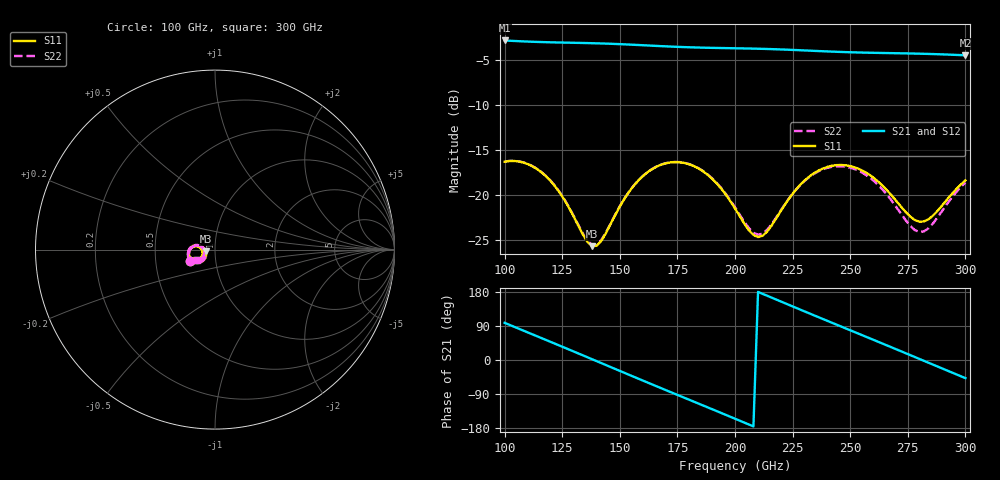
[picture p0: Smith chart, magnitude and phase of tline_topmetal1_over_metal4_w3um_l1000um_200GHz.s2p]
#  GHZ S DB R 50
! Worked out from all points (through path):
!   101 points, 100 GHz to 300 GHz, reference 50 ohm
!   highest |S21| = -2.80 dB at 100 GHz (marker M1); lowest = -4.4 dB at 300 GHz (marker M2)
!   group delay of S21, straight-line fit = 7.03 ps
!   lowest |S11| = -25.6 dB at 138 GHz (marker M3), VSWR 1.11, Z = 45.1 - j0.853 ohm
!   |S11| at or under -10 dB: start of sweep to end of sweep
!   |S22| runs from -25.5 to -16.2 dB; largest |S21 - S12| = 1.2e-14
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100  -16.26 -155.0  -2.80 98.1  -2.80 98.1  -16.25 -154.9
108  -16.35 -170.0  -2.90 77.9  -2.90 77.9  -16.33 -169.8
116  -17.44 176.5  -2.97 57.8  -2.97 57.8  -17.41 176.7
126  -20.51 165.8  -3.04 32.6  -3.04 32.6  -20.46 166.0
134  -24.37 174.1  -3.08 12.2  -3.08 12.2  -24.26 174.2
138  -25.64 -169.6  -3.10 2.0  -3.10 2.0  -25.51 -169.8
142  -25.05 -150.9  -3.13 -8.2  -3.13 -8.2  -24.95 -151.5
152  -20.38 -137.0  -3.23 -33.9  -3.23 -33.9  -20.36 -137.5
168  -16.59 -156.6  -3.43 -74.5  -3.43 -74.5  -16.58 -156.9
176  -16.32 -169.6  -3.52 -94.6  -3.52 -94.6  -16.31 -169.9
184  -16.99 177.9  -3.58 -114.6  -3.58 -114.6  -16.96 177.8
200  -21.45 165.8  -3.66 -154.9  -3.66 -154.9  -21.32 165.8
208  -24.40 -177.5  -3.70 -175.2  -3.70 -175.2  -24.15 -178.3
212  -24.49 -162.1  -3.73 174.6  -3.73 174.6  -24.25 -163.8
222  -20.89 -143.3  -3.82 149.1  -3.82 149.1  -20.86 -145.6
234  -17.59 -151.9  -3.95 118.6  -3.95 118.6  -17.65 -154.2
250  -16.75 -174.1  -4.11 78.5  -4.11 78.5  -16.93 -176.7
268  -20.02 170.3  -4.21 33.3  -4.21 33.3  -20.59 166.7
276  -22.34 178.3  -4.24 13.1  -4.24 13.1  -23.37 176.3
282  -22.90 -166.6  -4.28 -2.2  -4.28 -2.2  -24.00 -164.9
290  -21.09 -151.6  -4.34 -22.5  -4.34 -22.5  -21.69 -147.6
300  -18.33 -152.1  -4.45 -47.8  -4.45 -47.8  -18.57 -149.1
